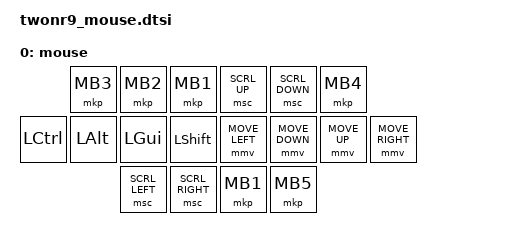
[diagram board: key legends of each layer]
/*
 * Mouse layer (L_MOUSE 6): pointer movement, mouse buttons and scrolling.
 *
 * Entered by tapping Space + Num together (positions 16 + 17). The auto-layer
 * keeps the layer up while it is used and typing any other key leaves it:
 * moving, scrolling and clicking raise no keycodes, so only a real key exits.
 * This file is included last in twonr9.keymap: a ZMK layer's index is its
 * order among the keymap's layer nodes, so it must come after all the others.
 */

#include <dt-bindings/zmk/pointing.h>

/ {
    behaviors {
        auto_mouse: auto_mouse {
            compatible = "zmk,behavior-auto-layer";
            #binding-cells = <1>;
            // Mouse buttons raise no keycodes today, so this list is documentation
            // as much as anything; typing a key is what actually leaves the layer.
            continue-list = <MB1 MB2 MB3 MB4 MB5>;
            ignore-modifiers;
        };
    };

    combos {
        compatible = "zmk,combos";
        combo_mouse: combo_mouse {
            timeout-ms = <COMBO_TERM>;
            key-positions = <16 17>;
            layers = <L_A1 L_A2 L_NAV L_SYM L_FN L_NUM>;
            bindings = <&auto_mouse L_MOUSE>;
        };
        // Nothing on the mouse layer raises a keycode (buttons, movement and scrolling
        // send no keys; the mods are ignored), so it needs a way out of its own: both
        // left thumbs, which send Escape and end the auto-layer.
        combo_mouse_exit: combo_mouse_exit {
            timeout-ms = <COMBO_TERM>;
            key-positions = <14 15>;
            layers = <L_MOUSE>;
            bindings = <&kp ESC>;
        };
    };
};

ZMK_LAYER(mouse,
//              ╭───────────┬───────────┬───────────╮      ╭───────────┬───────────┬───────────╮
                  &mkp MB3    &mkp MB2    &mkp MB1           &msc SCRL_UP &msc SCRL_DOWN &mkp MB4
//       ╭──────┼───────────┼───────────┼───────────┤      ├───────────┼───────────┼───────────┼───────────╮
          &kp LCTRL   &kp LALT    &kp LGUI    &kp LSHFT         &mmv MOVE_LEFT &mmv MOVE_DOWN &mmv MOVE_UP &mmv MOVE_RIGHT
//       ╰──────┴───────────┴───────────┴───────────╯      ╰───────────┴───────────┴───────────┴───────────╯
                         &msc SCRL_LEFT  &msc SCRL_RIGHT         &mkp MB1      &mkp MB5
//                        ╰───────────┴───────────╯      ╰───────────┴───────────╯
)
